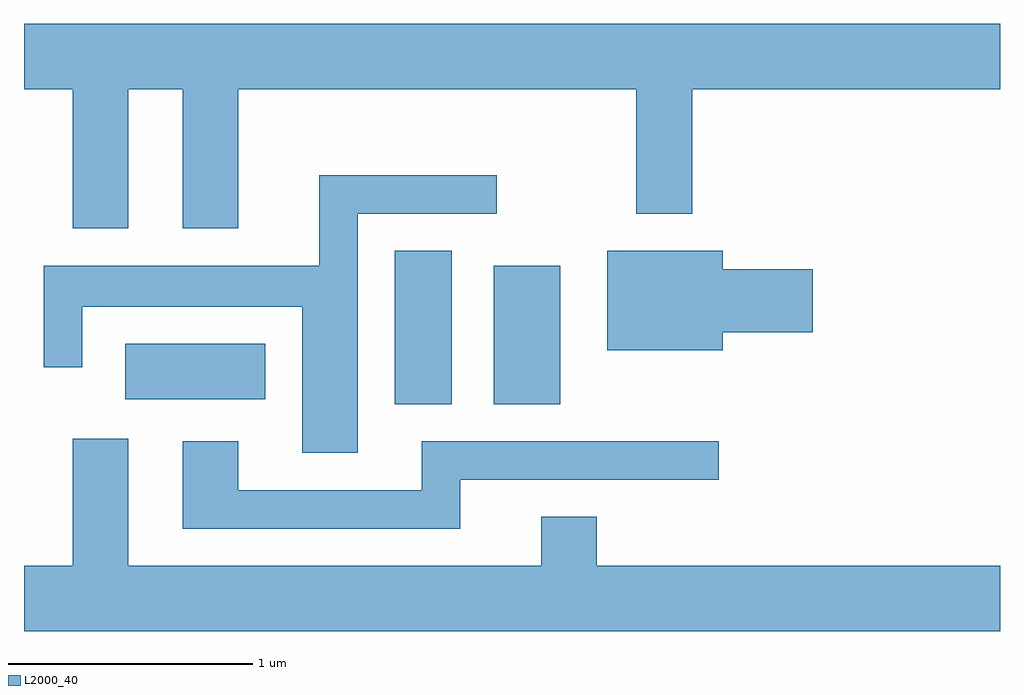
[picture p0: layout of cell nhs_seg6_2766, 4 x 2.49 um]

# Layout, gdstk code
import gdstk
lib = gdstk.Library(unit=1e-6, precision=1e-09)
def R(c, l, rs):  # rectangles x0, y0, x1, y1
    for r in rs: c.add(gdstk.rectangle(r[:2], r[2:], *l))
def P(c, l, *ps):  # polygons
    for p in ps: c.add(gdstk.Polygon(p, *l))
L2000_40 = (2000, 40)

nhs_seg6_2766 = lib.new_cell('nhs_seg6_2766')
R(nhs_seg6_2766, L2000_40, [(271.131,1544.306,271.364,1544.934), (271.536,1544.306,271.809,1544.874), (270.026,1544.326,270.599,1544.554)])
P(nhs_seg6_2766, L2000_40, [(270.039,1545.596),(270.261,1545.596),(270.261,1545.026),(270.489,1545.026),(270.489,1545.596),(272.121,1545.596),(272.121,1545.086),(272.349,1545.086),(272.349,1545.596),(273.611,1545.596),(273.611,1545.864),(269.611,1545.864),(269.611,1545.596),(269.811,1545.596),(269.811,1545.026),(270.039,1545.026)],
  [(270.979,1545.086),(271.548,1545.086),(271.548,1545.244),(270.821,1545.244),(270.821,1544.874),(269.691,1544.874),(269.691,1544.458),(269.849,1544.458),(269.849,1544.706),(270.751,1544.706),(270.751,1544.106),(270.979,1544.106)],
  [(272.474,1544.601),(272.844,1544.601),(272.844,1544.859),(272.474,1544.859),(272.474,1544.934),(272.001,1544.934),(272.001,1544.526),(272.474,1544.526)],
  [(273.611,1543.644),(271.959,1543.644),(271.959,1543.844),(271.731,1543.844),(271.731,1543.644),(270.039,1543.644),(270.039,1544.164),(269.811,1544.164),(269.811,1543.644),(269.611,1543.644),(269.611,1543.376),(273.611,1543.376)],
  [(271.399,1543.996),(272.458,1543.996),(272.458,1544.154),(271.241,1544.154),(271.241,1543.954),(270.489,1543.954),(270.489,1544.154),(270.261,1544.154),(270.261,1543.796),(271.399,1543.796)])

lib.write_gds('nhs_seg6_2766.gds')
